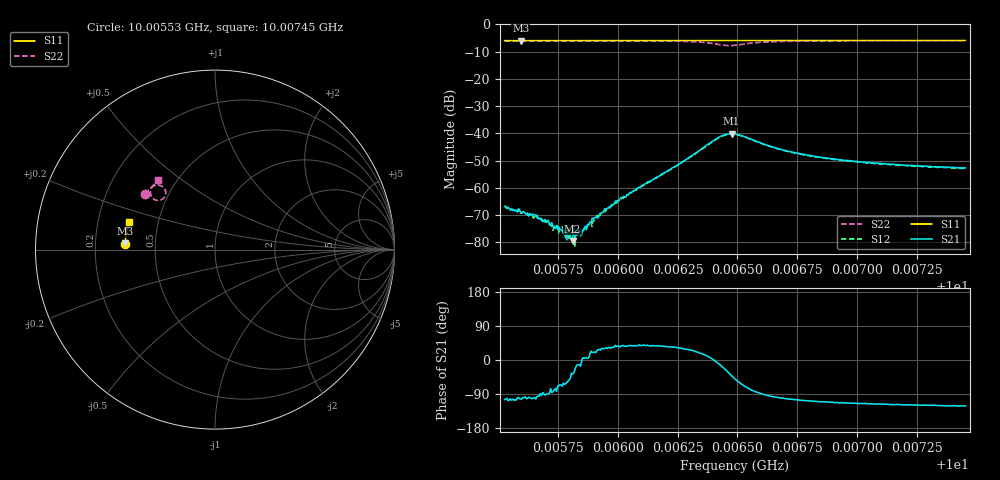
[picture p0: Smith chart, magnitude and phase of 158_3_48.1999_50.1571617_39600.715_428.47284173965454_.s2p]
#  HZ  S  RI  R  50.00
! Rohde & Schwarz Vector Network Analyzer
! Rohde-Schwarz,ZNB20-2Port,1311601062101988,3.16
! Created: UTC 3/20/2024, 11:43:07 AM
! freq[Hz]  re:S11  im:S11  re:S21  im:S21  re:S12  im:S12  re:S22  im:S22
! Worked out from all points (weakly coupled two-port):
!   401 points, 10.00553 GHz to 10.00745 GHz, reference 50 ohm
!   highest |S21| = -40.10 dB at 10.00648 GHz (marker M1); lowest = -79.5 dB at 10.00581 GHz (marker M2)
!   lowest |S11| = -6.0 dB at 10.00559 GHz (marker M3), VSWR 3.01, Z = 16.7 + j1.61 ohm
!   |S11| at or under -10 dB: nowhere
!   |S22| runs from -7.8 to -6.0 dB; largest |S21 - S12| = 0.00059
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1.0005526e10  -0.4997 0.0317  -0.000112 -0.000446  -8.65e-05 -0.000433  -0.3889 0.309
1.0005593e10  -0.4994 0.0361  -7.77e-05 -0.000348  -5.42e-05 -0.000336  -0.3858 0.313
1.0005699e10  -0.4992 0.0431  -6.56e-07 -0.000253  1.76e-05 -0.000244  -0.3809 0.3195
1.0005719e10  -0.4991 0.0442  5.42e-05 -0.000206  -8.84e-06 -0.000208  -0.3799 0.3206
1.0005757e10  -0.499 0.0468  7.37e-05 -0.000156  4.43e-05 -0.000184  -0.3781 0.323
1.0005777e10  -0.4989 0.048  7.15e-05 -0.00015  7.02e-05 -0.000124  -0.377 0.3242
1.0005786e10  -0.4989 0.0486  5.72e-05 -9.6e-05  0.000116 -0.000126  -0.3764 0.3249
1.000581e10  -0.4986 0.0502  8.47e-05 -6.38e-05  9.52e-05 -0.000126  -0.3752 0.3264
1.0005825e10  -0.4987 0.0512  0.000136 -4.18e-05  0.000153 -3.06e-05  -0.3743 0.3273
1.0005834e10  -0.4986 0.0518  0.000158 -3.49e-05  0.00015 -1.09e-05  -0.3738 0.328
1.0005849e10  -0.4985 0.0528  0.000143 -1.7e-06  0.000145 1.44e-05  -0.373 0.329
1.0005859e10  -0.4986 0.0534  0.000172 1.3e-05  0.000183 1.71e-05  -0.3725 0.3295
1.0005902e10  -0.4983 0.0562  0.000267 0.000103  0.000235 8.53e-05  -0.3698 0.3324
1.0005998e10  -0.4977 0.0624  0.000471 0.000349  0.000439 0.000359  -0.3634 0.3389
1.0006172e10  -0.4964 0.0735  0.00131 0.000979  0.00126 0.00102  -0.3463 0.3518
1.0006418e10  -0.4936 0.0893  0.00817 -0.00109  0.00804 -0.000683  -0.276 0.3283
1.0006475e10  -0.493 0.0924  0.00739 -0.00657  0.00752 -0.006  -0.2925 0.2811
1.000649e10  -0.493 0.0932  0.00628 -0.00749  0.00655 -0.00696  -0.3046 0.2754
1.0006663e10  -0.4918 0.1044  -0.000757 -0.00531  -0.0005 -0.00525  -0.3599 0.3199
1.0006813e10  -0.4901 0.114  -0.00125 -0.00365  -0.00103 -0.00366  -0.3536 0.3434
1.0007136e10  -0.4855 0.1343  -0.00126 -0.00242  -0.00112 -0.00241  -0.3358 0.3694
1.0007454e10  -0.4805 0.1542  -0.00121 -0.00197  -0.0011 -0.00198  -0.3191 0.3871
